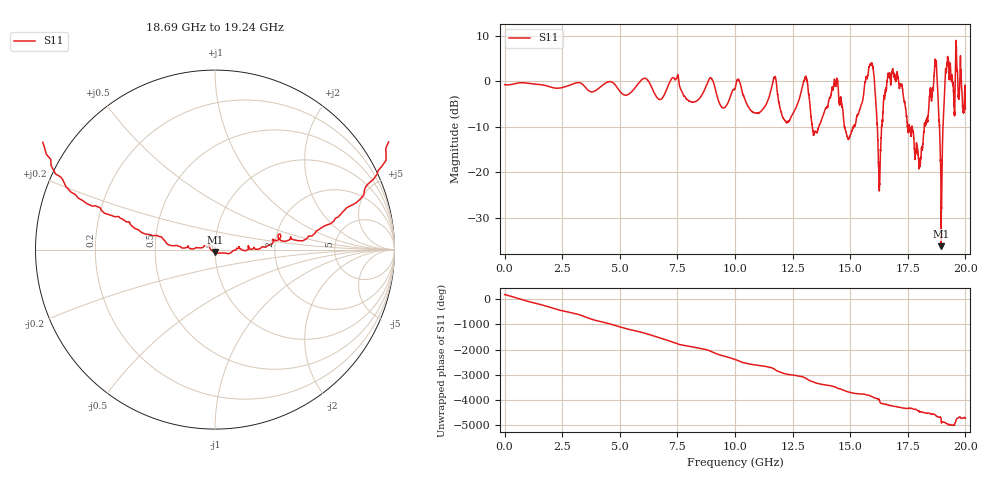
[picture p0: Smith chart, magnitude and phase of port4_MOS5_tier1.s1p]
! Created with skrf 1.8.0 (http://scikit-rf.org).
# GHz S RI R 50.0
!freq ReS11 ImS11
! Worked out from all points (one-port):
!   10001 points, 1 MHz to 20 GHz, reference 50 ohm
!   lowest |S11| = -36.3 dB at 18.95 GHz (marker M1), VSWR 1.03, Z = 49.8 - j1.53 ohm
!   |S11| at or under -10 dB: 13.36 GHz to 13.63 GHz (275.5 MHz wide, 2.04 % of centre); 14.76 GHz to 15.13 GHz (370.2 MHz wide, 2.48 % of centre); 17.69 GHz to 18.21 GHz (524.7 MHz wide, 2.92 % of centre) (the widest 3 of 13)
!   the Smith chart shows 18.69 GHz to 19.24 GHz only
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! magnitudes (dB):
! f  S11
! 1 MHz  -0.8
! 2.501 GHz  -1.4
! 5.001 GHz  -2.2
! 7.501 GHz  1.1
! 8.181 GHz  -4.6
! 8.967 GHz  0.7
! 9.491 GHz  -5.9
! 10 GHz  -1.7
! 10.98 GHz  -7.1
! 11.72 GHz  0.8
! 12.12 GHz  -8.3
! 12.5 GHz  -7.2
! 13.06 GHz  1.0
! 13.5 GHz  -11.1
! 14.38 GHz  -0.9
! 15 GHz  -11.9
! 15.9 GHz  3.7
! 16.05 GHz  0.6
! 16.26 GHz  -23.6
! 16.54 GHz  -2.0
! 16.76 GHz  -0.7
! 17.18 GHz  -0.6
! 17.5 GHz  -10.2
! 18.05 GHz  -17.8
! 18.7 GHz  4.2
! 18.95 GHz  -36.3
! 19.21 GHz  4.1
! 20 GHz  -6.2
